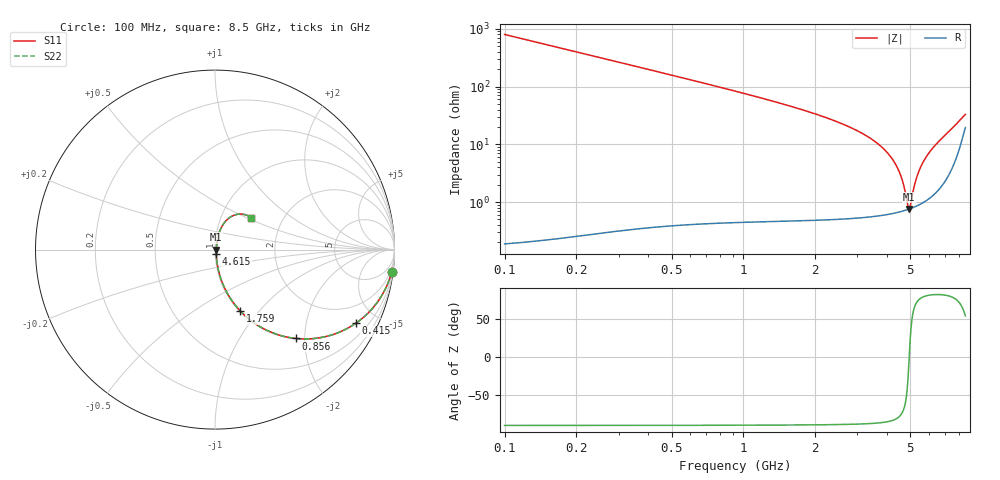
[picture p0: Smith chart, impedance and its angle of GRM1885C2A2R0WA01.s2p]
!Murata Part Number: GRM1885C2A2R0WA01
!These Parameters are Measured in Series Mode Connection
!Data Generated on Mar 30, 2021
!  o--ll--o
!Port1  Port2
!  o------o
!Operation Temp=25[degC], DC Bias Voltage=0[V]
!Freq. Start=100[MHz] Stop=9[GHz] 401[Steps]
# Hz S RI R 50
!Freq.(Hz) S11(Real) S11(Imag) S21(Real) S21(Imag) S12(Real) S12(Imag) S22(Real) S22(Imag)
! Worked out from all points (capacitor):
!   401 points, 100 MHz to 8.5 GHz, reference 50 ohm
!   read as one part in series: C = 2 pF near 142 MHz
!   lowest |Z| = 760 mohm at 4.951 GHz (marker M1)
!   series resonance near 4.946 GHz, so ESL is about 520 pH
!   S11 on the Smith chart (normalised r, x): 100 MHz: 1, -16; 415 MHz: 1.01, -3.81; 856 MHz: 1.01, -1.80; 1.759 GHz: 1.01, -0.80; 4.615 GHz: 1.01, -0.05; 8.5 GHz: 1.39, +0.53
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1e8  0.9844 -0.1238  0.0156 0.1238  0.0156 0.1238  0.9844 -0.1238
2.47e8  0.9115 -0.2836  0.0885 0.2836  0.0885 0.2836  0.9115 -0.2836
4.15e8  0.7832 -0.4111  0.2168 0.4111  0.2168 0.4111  0.7832 -0.4111
6.04e8  0.627 -0.482  0.373 0.482  0.373 0.482  0.627 -0.482
8.56e8  0.4491 -0.495  0.5509 0.495  0.5509 0.495  0.4491 -0.495
1.15e9  0.302 -0.4557  0.698 0.4557  0.698 0.4557  0.302 -0.4557
1.507e9  0.1902 -0.3877  0.8098 0.3877  0.8098 0.3877  0.1902 -0.3877
1.759e9  0.1394 -0.3405  0.8606 0.3405  0.8606 0.3405  0.1394 -0.3405
2.914e9  0.0367 -0.1742  0.9633 0.1742  0.9633 0.1742  0.0367 -0.1742
3.754e9  0.0142 -0.0912  0.9858 0.0912  0.9858 0.0912  0.0142 -0.0912
4.3e9  0.00861 -0.0468  0.9914 0.0468  0.9914 0.0468  0.00861 -0.0468
4.615e9  0.00743 -0.0233  0.9926 0.0233  0.9926 0.0233  0.00743 -0.0233
4.888e9  0.00742 -0.00398  0.9926 0.00398  0.9926 0.00398  0.00742 -0.00398
4.951e9  0.00754 0.000378  0.9925 -0.000378  0.9925 -0.000378  0.00754 0.000378
4.993e9  0.00764 0.00326  0.9924 -0.00326  0.9924 -0.00326  0.00764 0.00326
5.161e9  0.00826 0.0147  0.9917 -0.0147  0.9917 -0.0147  0.00826 0.0147
5.308e9  0.00906 0.0245  0.9909 -0.0245  0.9909 -0.0245  0.00906 0.0245
5.707e9  0.0125 0.0505  0.9875 -0.0505  0.9875 -0.0505  0.0125 0.0505
6.274e9  0.021 0.0868  0.979 -0.0868  0.979 -0.0868  0.021 0.0868
7.114e9  0.0461 0.1417  0.9539 -0.1417  0.9539 -0.1417  0.0461 0.1417
8.038e9  0.1231 0.1963  0.8769 -0.1963  0.8769 -0.1963  0.1231 0.1963
8.5e9  0.2023 0.1764  0.7977 -0.1764  0.7977 -0.1764  0.2023 0.1764
